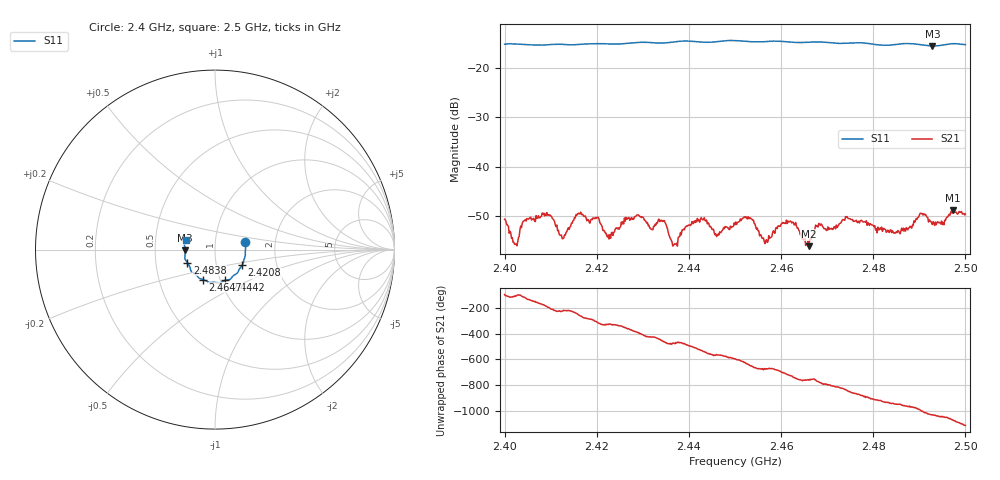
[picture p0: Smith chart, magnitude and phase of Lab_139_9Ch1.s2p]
# Hz S RI R 50
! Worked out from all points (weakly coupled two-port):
!   601 points, 2.4 GHz to 2.5 GHz, reference 50 ohm
!   highest |S21| = -48.77 dB at 2.4973 GHz (marker M1); lowest = -56.0 dB at 2.466 GHz (marker M2)
!   lowest |S11| = -15.6 dB at 2.4928 GHz (marker M3), VSWR 1.40, Z = 35.8 - j0.369 ohm
!   |S11| at or under -10 dB: start of sweep to end of sweep
!   S12 and S22 are empty: the file has one direction only
!   S11 on the Smith chart (normalised r, x): 2.4 GHz: 1.40, +0.12; 2.4208 GHz: 1.33, -0.24; 2.4442 GHz: 1.05, -0.37; 2.4647 GHz: 0.83, -0.29; 2.4838 GHz: 0.73, -0.11; 2.5 GHz: 0.72, +0.08
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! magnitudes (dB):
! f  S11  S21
! 2.4 GHz  -15.2  -50.6
! 2.4023 GHz  -15.2  -55.6
! 2.4052 GHz  -15.4  -50.6
! 2.4097 GHz  -15.3  -49.8
! 2.4127 GHz  -15.3  -54.5
! 2.4167 GHz  -15.2  -49.6
! 2.4208 GHz  -15.1  -51.5
! 2.4333 GHz  -15.0  -50.7
! 2.437 GHz  -14.8  -55.6
! 2.4442 GHz  -14.9  -51.3
! 2.45 GHz  -14.5  -51.7
! 2.4567 GHz  -14.7  -55.0
! 2.462 GHz  -14.8  -50.9
! 2.4647 GHz  -14.9  -54.6
! 2.466 GHz  -14.9  -56.0
! 2.4667 GHz  -14.8  -54.1
! 2.4745 GHz  -15.1  -50.4
! 2.4833 GHz  -15.5  -53.1
! 2.4838 GHz  -15.4  -52.7
! 2.4928 GHz  -15.6  -51.6
! 2.4973 GHz  -15.1  -48.8
! 2.5 GHz  -15.3  -49.5
